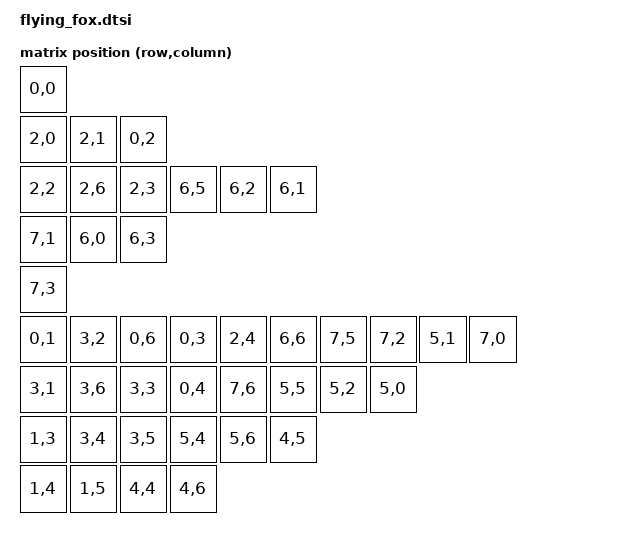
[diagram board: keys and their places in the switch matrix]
#include "flying_fox-layouts.dtsi"
#include <dt-bindings/zmk/matrix_transform.h>

/ {
    matrix_transform0: matrix_transform0 {
        compatible = "zmk,matrix-transform";
        columns = <7>;
        rows = <8>;
        map = <
            RC(0,0)
            RC(2,0) RC(2,1) RC(0,2)
            RC(2,2) RC(2,6) RC(2,3) RC(6,5) RC(6,2) RC(6,1)
            RC(7,1) RC(6,0) RC(6,3)
            RC(7,3)
            RC(0,1) RC(3,2) RC(0,6) RC(0,3) RC(2,4) RC(6,6) RC(7,5) RC(7,2) RC(5,1) RC(7,0)
            RC(3,1) RC(3,6) RC(3,3) RC(0,4) RC(7,6) RC(5,5) RC(5,2) RC(5,0)
            RC(1,3) RC(3,4) RC(3,5) RC(5,4) RC(5,6) RC(4,5)
            RC(1,4) RC(1,5) RC(4,4) RC(4,6)
        >;
    };
};

&physical_layout_flying_fox {
    transform = <&matrix_transform0>;
};

